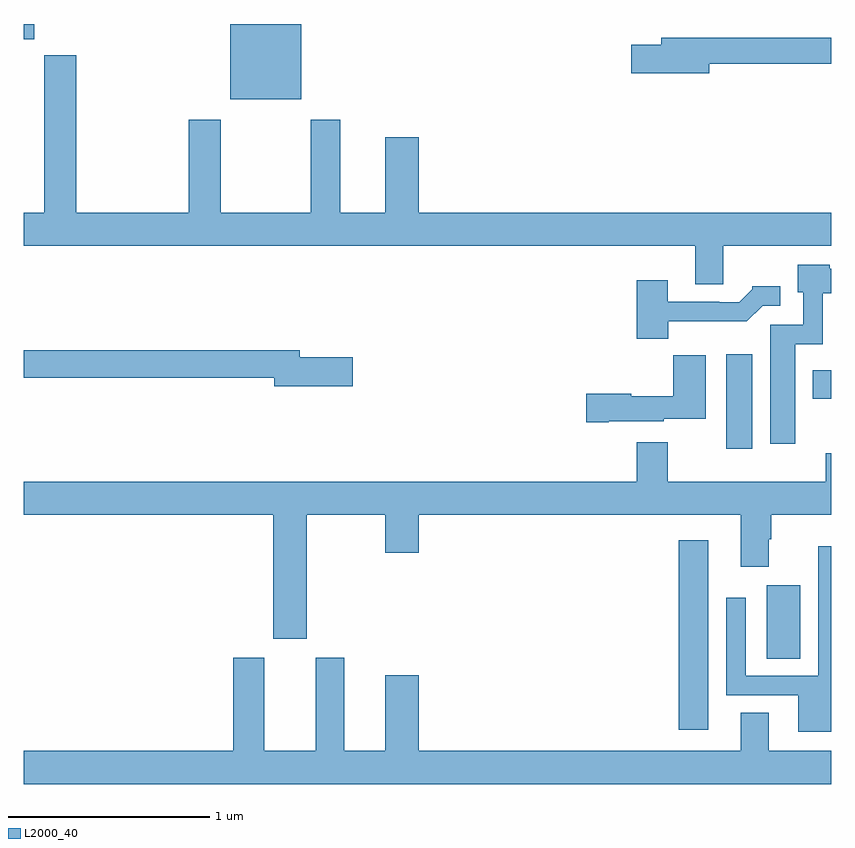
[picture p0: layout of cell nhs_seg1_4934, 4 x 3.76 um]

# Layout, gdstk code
import gdstk
lib = gdstk.Library(unit=1e-6, precision=1e-09)
def R(c, l, rs):  # rectangles x0, y0, x1, y1
    for r in rs: c.add(gdstk.rectangle(r[:2], r[2:], *l))
def P(c, l, *ps):  # polygons
    for p in ps: c.add(gdstk.Polygon(p, *l))
L2000_40 = (2000, 40)

nhs_seg1_4934 = lib.new_cell('nhs_seg1_4934')
R(nhs_seg1_4934, L2000_40, [(382.244,514.704,382.39,515.644), (382.679,515.056,382.846,515.419), (382.478,516.096,382.609,516.565), (382.907,516.344,383,516.484), (380.024,517.826,380.374,518.199), (379,518.123,379.054,518.199)])
P(nhs_seg1_4934, L2000_40, [(382.396,518.002),(383,518.002),(383,518.131),(382.157,518.131),(382.157,518.097),(382.008,518.097),(382.008,517.955),(382.396,517.955)],
  [(382.465,517.1),(383,517.1),(383,517.264),(380.956,517.264),(380.956,517.639),(380.792,517.639),(380.792,517.264),(380.569,517.264),(380.569,517.726),(380.422,517.726),(380.422,517.264),(379.977,517.264),(379.977,517.726),(379.817,517.726),(379.817,517.264),(379.262,517.264),(379.262,518.044),(379.102,518.044),(379.102,517.264),(379,517.264),(379,517.1),(382.325,517.1),(382.325,516.91),(382.465,516.91)],
  [(382.822,516.614),(382.956,516.614),(382.956,516.866),(383,516.866),(383,516.988),(382.992,516.988),(382.992,517.006),(382.832,517.006),(382.832,516.87),(382.86,516.87),(382.86,516.711),(382.697,516.711),(382.697,516.12),(382.822,516.12)],
  [(382.192,516.726),(382.581,516.726),(382.659,516.804),(382.747,516.804),(382.747,516.901),(382.608,516.901),(382.608,516.886),(382.544,516.822),(382.445,516.822),(382.445,516.825),(382.189,516.825),(382.189,516.931),(382.037,516.931),(382.037,516.641),(382.192,516.641)],
  [(380.629,516.548),(380.368,516.548),(380.368,516.584),(379,516.584),(379,516.448),(380.24,516.448),(380.24,516.406),(380.629,516.406)],
  [(381.898,516.233),(382.17,516.233),(382.17,516.245),(382.378,516.245),(382.378,516.559),(382.216,516.559),(382.216,516.355),(382.008,516.355),(382.008,516.368),(381.786,516.368),(381.786,516.226),(381.898,516.226)],
  [(380.401,515.768),(380.792,515.768),(380.792,515.58),(380.956,515.58),(380.956,515.768),(382.55,515.768),(382.55,515.511),(382.69,515.511),(382.69,515.648),(382.703,515.648),(382.703,515.768),(383,515.768),(383,516.073),(382.973,516.073),(382.973,515.932),(382.189,515.932),(382.189,516.127),(382.037,516.127),(382.037,515.932),(379,515.932),(379,515.768),(380.237,515.768),(380.237,515.154),(380.401,515.154)],
  [(383,515.614),(382.935,515.614),(382.935,514.971),(382.575,514.971),(382.575,515.359),(382.479,515.359),(382.479,514.875),(382.835,514.875),(382.835,514.694),(383,514.694)],
  [(383,514.6),(382.69,514.6),(382.69,514.79),(382.55,514.79),(382.55,514.6),(380.956,514.6),(380.956,514.975),(380.792,514.975),(380.792,514.6),(380.587,514.6),(380.587,515.062),(380.447,515.062),(380.447,514.6),(380.191,514.6),(380.191,515.062),(380.039,515.062),(380.039,514.6),(379,514.6),(379,514.436),(383,514.436)])

lib.write_gds('nhs_seg1_4934.gds')
